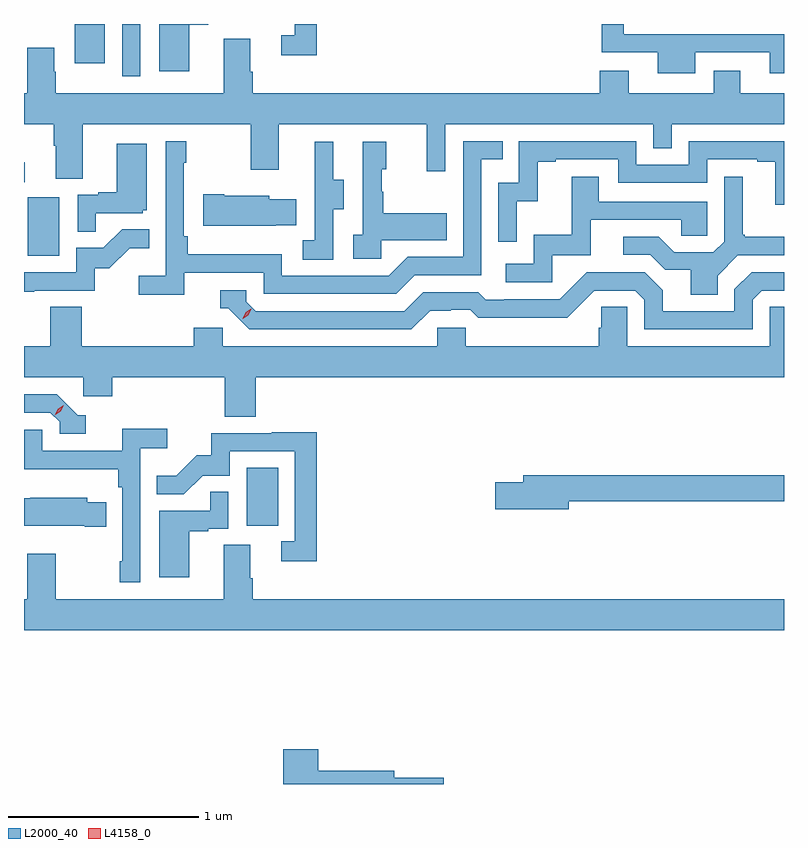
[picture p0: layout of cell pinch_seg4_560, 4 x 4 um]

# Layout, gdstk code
import gdstk
lib = gdstk.Library(unit=1e-6, precision=1e-09)
def R(c, l, rs):  # rectangles x0, y0, x1, y1
    for r in rs: c.add(gdstk.rectangle(r[:2], r[2:], *l))
def P(c, l, *ps):  # polygons
    for p in ps: c.add(gdstk.Polygon(p, *l))
L2000_40 = (2000, 40)
L4158_0 = (4158, 0)

pinch_seg4_560 = lib.new_cell('pinch_seg4_560')
R(pinch_seg4_560, L2000_40, [(1102.868,782.718,1103.032,783.025), (1101.716,784.14,1101.88,784.447), (1101.695,784.527,1101.7,784.633), (1102.212,785.085,1102.308,785.36), (1101.962,785.154,1102.12,785.36)])
P(pinch_seg4_560, L2000_40, [(1102.564,785.355),(1102.664,785.355),(1102.664,785.36),(1102.406,785.36),(1102.406,785.112),(1102.564,785.112)],
  [(1103.237,785.36),(1103.121,785.36),(1103.121,785.301),(1103.049,785.301),(1103.049,785.196),(1103.237,785.196)],
  [(1105.228,785.211),(1105.619,785.211),(1105.619,785.102),(1105.695,785.102),(1105.695,785.307),(1104.852,785.307),(1104.852,785.36),(1104.736,785.36),(1104.736,785.211),(1105.031,785.211),(1105.031,785.102),(1105.228,785.102)],
  [(1102.003,784.832),(1102.888,784.832),(1102.888,784.593),(1103.035,784.593),(1103.035,784.832),(1103.816,784.832),(1103.816,784.584),(1103.913,784.584),(1103.913,784.832),(1105.008,784.832),(1105.008,784.705),(1105.104,784.705),(1105.104,784.832),(1105.695,784.832),(1105.695,784.996),(1105.465,784.996),(1105.465,785.113),(1105.325,785.113),(1105.325,784.996),(1104.877,784.996),(1104.877,785.113),(1104.725,785.113),(1104.725,784.996),(1102.898,784.996),(1102.898,785.108),(1102.885,785.108),(1102.885,785.282),(1102.745,785.282),(1102.745,784.996),(1101.861,784.996),(1101.861,785.108),(1101.853,785.108),(1101.853,785.236),(1101.713,785.236),(1101.713,784.996),(1101.695,784.996),(1101.695,784.832),(1101.851,784.832),(1101.851,784.72),(1101.863,784.72),(1101.863,784.546),(1102.003,784.546)],
  [(1102.538,784.05),(1102.956,784.05),(1102.956,783.939),(1103.653,783.939),(1103.752,784.038),(1104.102,784.038),(1104.102,784.647),(1104.215,784.647),(1104.215,784.743),(1104.006,784.743),(1104.006,784.134),(1103.715,784.134),(1103.616,784.035),(1103.052,784.035),(1103.052,784.147),(1102.556,784.147),(1102.556,784.243),(1102.536,784.243),(1102.536,784.631),(1102.549,784.631),(1102.549,784.744),(1102.44,784.744),(1102.44,784.036),(1102.299,784.036),(1102.299,783.934),(1102.538,783.934)],
  [(1104.288,784.427),(1104.398,784.427),(1104.398,784.635),(1104.493,784.635),(1104.493,784.647),(1104.822,784.647),(1104.822,784.524),(1105.29,784.524),(1105.29,784.647),(1105.553,784.647),(1105.553,784.635),(1105.649,784.635),(1105.649,784.409),(1105.695,784.409),(1105.695,784.743),(1105.194,784.743),(1105.194,784.62),(1104.918,784.62),(1104.918,784.743),(1104.3,784.743),(1104.3,784.524),(1104.192,784.524),(1104.192,784.215),(1104.288,784.215)],
  [(1103.322,784.384),(1103.377,784.384),(1103.377,784.539),(1103.323,784.539),(1103.323,784.741),(1103.225,784.741),(1103.225,784.527),(1103.226,784.527),(1103.226,784.223),(1103.163,784.223),(1103.163,784.12),(1103.322,784.12)],
  [(1103.574,784.223),(1103.921,784.223),(1103.921,784.363),(1103.587,784.363),(1103.587,784.478),(1103.577,784.478),(1103.577,784.596),(1103.602,784.596),(1103.602,784.741),(1103.478,784.741),(1103.478,784.25),(1103.427,784.25),(1103.427,784.125),(1103.574,784.125)],
  [(1102.073,784.365),(1102.32,784.365),(1102.32,784.38),(1102.342,784.38),(1102.342,784.729),(1102.184,784.729),(1102.184,784.474),(1102.085,784.474),(1102.085,784.461),(1101.978,784.461),(1101.978,784.267),(1102.073,784.267)],
  [(1105.345,784.036),(1105.452,784.143),(1105.695,784.143),(1105.695,784.24),(1105.489,784.24),(1105.489,784.252),(1105.477,784.252),(1105.477,784.555),(1105.38,784.555),(1105.38,784.215),(1105.323,784.158),(1105.117,784.158),(1105.036,784.239),(1104.849,784.239),(1104.849,784.146),(1104.99,784.146),(1105.07,784.066),(1105.205,784.066),(1105.205,783.934),(1105.345,783.934)],
  [(1104.474,784.143),(1104.679,784.143),(1104.679,784.329),(1105.153,784.329),(1105.153,784.245),(1105.29,784.245),(1105.29,784.425),(1104.721,784.425),(1104.721,784.555),(1104.577,784.555),(1104.577,784.252),(1104.378,784.252),(1104.378,784.098),(1104.231,784.098),(1104.231,784.002),(1104.474,784.002)],
  [(1103.021,784.301),(1103.129,784.301),(1103.129,784.438),(1102.986,784.438),(1102.986,784.456),(1102.75,784.456),(1102.75,784.464),(1102.638,784.464),(1102.638,784.298),(1103.021,784.298)],
  [(1101.749,783.957),(1102.068,783.957),(1102.068,784.074),(1102.144,784.074),(1102.251,784.181),(1102.355,784.181),(1102.355,784.28),(1102.211,784.28),(1102.113,784.182),(1101.969,784.182),(1101.969,784.053),(1101.695,784.053),(1101.695,783.952),(1101.749,783.952)],
  [(1103.833,783.852),(1103.94,783.852),(1103.94,783.855),(1104.043,783.855),(1104.085,783.813),(1104.318,783.813),(1104.318,783.815),(1104.554,783.815),(1104.696,783.957),(1104.912,783.957),(1104.96,783.909),(1104.96,783.753),(1105.53,783.753),(1105.53,783.909),(1105.578,783.957),(1105.695,783.957),(1105.695,784.053),(1105.524,784.053),(1105.434,783.963),(1105.434,783.849),(1105.057,783.849),(1105.057,783.959),(1104.963,784.053),(1104.657,784.053),(1104.516,783.912),(1104.223,783.912),(1104.223,783.909),(1104.124,783.909),(1104.085,783.948),(1103.796,783.948),(1103.697,783.849),(1102.914,783.849),(1102.866,783.897),(1102.866,783.96),(1102.727,783.96),(1102.727,783.864),(1102.77,783.864),(1102.881,783.753),(1103.734,783.753)],
  [(1102.916,783.5),(1105.695,783.5),(1105.695,783.872),(1105.62,783.872),(1105.62,783.664),(1104.87,783.664),(1104.87,783.872),(1104.733,783.872),(1104.733,783.762),(1104.719,783.762),(1104.719,783.664),(1104.021,783.664),(1104.021,783.762),(1103.871,783.762),(1103.871,783.664),(1102.74,783.664),(1102.74,783.762),(1102.589,783.762),(1102.589,783.664),(1101.998,783.664),(1101.998,783.872),(1101.833,783.872),(1101.833,783.664),(1101.695,783.664),(1101.695,783.5),(1102.008,783.5),(1102.008,783.402),(1102.16,783.402),(1102.16,783.5),(1102.751,783.5),(1102.751,783.292),(1102.916,783.292)],
  [(1102.021,783.3),(1101.978,783.3),(1101.867,783.411),(1101.695,783.411),(1101.695,783.315),(1101.834,783.315),(1101.882,783.267),(1101.882,783.204),(1102.021,783.204)],
  [(1102.308,783.128),(1102.45,783.128),(1102.45,783.23),(1102.211,783.23),(1102.211,783.114),(1101.792,783.114),(1101.792,783.225),(1101.695,783.225),(1101.695,783.129),(1101.696,783.129),(1101.696,783.017),(1102.192,783.017),(1102.192,782.921),(1102.212,782.921),(1102.212,782.533),(1102.2,782.533),(1102.2,782.421),(1102.308,782.421)],
  [(1103.237,783.212),(1102.999,783.212),(1102.999,783.207),(1102.681,783.207),(1102.681,783.09),(1102.604,783.09),(1102.497,782.983),(1102.393,782.983),(1102.393,782.884),(1102.537,782.884),(1102.635,782.982),(1102.779,782.982),(1102.779,783.111),(1103.121,783.111),(1103.121,782.637),(1103.049,782.637),(1103.049,782.532),(1103.237,782.532)],
  [(1104.562,782.848),(1105.695,782.848),(1105.695,782.984),(1104.323,782.984),(1104.323,782.948),(1104.174,782.948),(1104.174,782.806),(1104.562,782.806)],
  [(1102.564,782.691),(1102.664,782.691),(1102.664,782.703),(1102.77,782.703),(1102.77,782.897),(1102.675,782.897),(1102.675,782.799),(1102.406,782.799),(1102.406,782.448),(1102.564,782.448)],
  [(1102.127,782.842),(1102.029,782.842),(1102.029,782.866),(1101.727,782.866),(1101.727,782.863),(1101.695,782.863),(1101.695,782.72),(1102.016,782.72),(1102.016,782.713),(1102.127,782.713)],
  [(1105.695,782.332),(1102.898,782.332),(1102.898,782.444),(1102.885,782.444),(1102.885,782.618),(1102.745,782.618),(1102.745,782.332),(1101.861,782.332),(1101.861,782.572),(1101.713,782.572),(1101.713,782.332),(1101.695,782.332),(1101.695,782.168),(1105.695,782.168)],
  [(1103.905,781.394),(1103.644,781.394),(1103.644,781.43),(1103.243,781.43),(1103.243,781.543),(1103.06,781.543),(1103.06,781.36),(1103.905,781.36)])
P(pinch_seg4_560, L4158_0, [(1101.858,783.301),(1101.858,783.302),(1101.874,783.334),(1101.905,783.353),(1101.905,783.353),(1101.905,783.353),(1101.889,783.321),(1101.858,783.301)],
  [(1102.845,783.809),(1102.845,783.809),(1102.861,783.842),(1102.891,783.861),(1102.891,783.861),(1102.891,783.861),(1102.876,783.828),(1102.846,783.809)])

lib.write_gds('pinch_seg4_560.gds')
